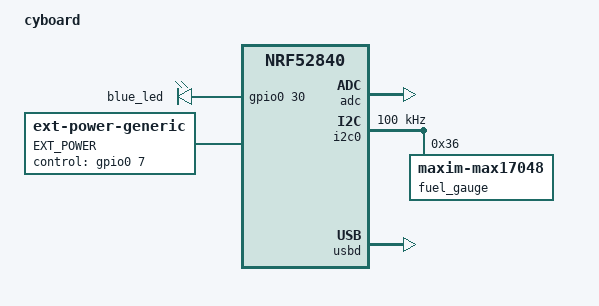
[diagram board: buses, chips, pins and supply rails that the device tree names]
/*
 * Copyright (c) 2021 The ZMK Contributors
 *
 * SPDX-License-Identifier: MIT
 */

/dts-v1/;
#include <nordic/nrf52840_qiaa.dtsi>
#include "cyboard-pinctrl.dtsi"

/ {
    model = "cyboard";
    compatible = "cyboard";

    chosen {
        zephyr,code-partition = &code_partition;
        zephyr,sram = &sram0;
        zephyr,flash = &flash0;
        zmk,battery = &vbatt;//&fuel_gauge;
    };

    leds {
        compatible = "gpio-leds";
        blue_led: led_0 {
            gpios = <&gpio0 30 GPIO_ACTIVE_HIGH>;
        };
    };

    // Node name must match original "EXT_POWER" label to preserve user settings.
    EXT_POWER {
        compatible = "zmk,ext-power-generic";
        //control-gpios = <&gpio1 2 GPIO_ACTIVE_HIGH>;
        control-gpios = <&gpio0 7 GPIO_ACTIVE_HIGH>;//temporary bodge due to missing trace on v1.0 pcb
        init-delay-ms = <50>;
    };
};

&adc {
    status = "okay";
};

&gpiote {
    status = "okay";
};

&gpio0 {
    status = "okay";
};

&gpio1 {
    status = "okay";
};

&i2c0 {
    status = "okay";
    compatible = "nordic,nrf-twim";
    pinctrl-0 = <&i2c0_default>;
    pinctrl-1 = <&i2c0_sleep>;
    pinctrl-names = "default", "sleep";
    clock-frequency = <100000>;

    fuel_gauge: max17048@36 {
        compatible = "zmk,maxim-max17048";
		reg = <0x36>;
    };
};

&spi1 {
    compatible = "nordic,nrf-spim";
    pinctrl-0 = <&spi1_default>;
    pinctrl-1 = <&spi1_sleep>;
    pinctrl-names = "default", "sleep";
};

zephyr_udc0: &usbd {
    status = "okay";
};


&flash0 {
    /*
     * For more information, see:
     * http://docs.zephyrproject.org/latest/devices/dts/flash_partitions.html
     */
    partitions {
        compatible = "fixed-partitions";
        #address-cells = <1>;
        #size-cells = <1>;

        sd_partition: partition@0 {
            reg = <0x00000000 0x00026000>;
        };
        code_partition: partition@26000 {
            reg = <0x00026000 0x000c6000>;
        };

        /*
         * The flash starting at 0x000ec000 and ending at
         * 0x000f3fff is reserved for use by the application.
         */

        /*
         * Storage partition will be used by FCB/LittleFS/NVS
         * if enabled.
         */
        storage_partition: partition@ec000 {
            reg = <0x000ec000 0x00008000>;
        };

        vbatt: vbatt {
        compatible = "zmk,battery-nrf-vddh";
        };

        boot_partition: partition@f4000 {
            reg = <0x000f4000 0x0000c000>;
        };
    };
};
